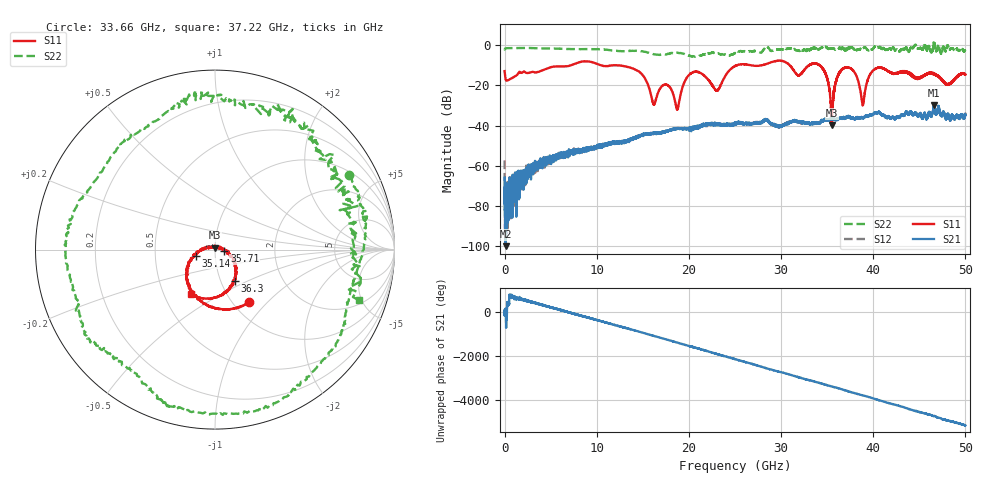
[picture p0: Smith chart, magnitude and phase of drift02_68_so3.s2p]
!Created with skrf (http://scikit-rf.org).
# Hz S RI R 50.0
!freq ReS11 ImS11 ReS21 ImS21 ReS12 ImS12 ReS22 ImS22
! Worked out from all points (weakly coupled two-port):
!   10001 points, 300 kHz to 50 GHz, reference 50 ohm
!   highest |S21| = -29.96 dB at 46.58 GHz (marker M1); lowest = -100.0 dB at 115.3 MHz (marker M2)
!   lowest |S11| = -39.9 dB at 35.5 GHz (marker M3), VSWR 1.02, Z = 50 + j1.01 ohm
!   |S11| at or under -10 dB: start of sweep to 7.178 GHz; 12.36 GHz to 25.18 GHz (12.82 GHz wide, 68.3 % of centre); 34.21 GHz to end of sweep (the widest 3 of 15)
!   |S22| runs from -5.7 to 2.4 dB; largest |S21 - S12| = 0.0034
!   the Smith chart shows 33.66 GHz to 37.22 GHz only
!   S11 on the Smith chart (normalised r, x): 33.66 GHz: 1.18, -0.79; 35.14 GHz: 0.81, -0.05; 35.71 GHz: 1.11, -0.02; 36.3 GHz: 1.17, -0.43; 37.22 GHz: 0.68, -0.37
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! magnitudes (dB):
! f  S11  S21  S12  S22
! 300 kHz  -12.9  -65.9  -57.3  -2.0
! 115.3 MHz  -17.0  -100.0  -74.3  -1.5
! 8.335 GHz  -8.2  -52.8  -51.7  -1.9
! 14.03 GHz  -11.8  -46.4  -46.0  -2.8
! 16.67 GHz  -23.4  -43.6  -43.6  -4.7
! 17.72 GHz  -19.9  -42.8  -42.6  -4.3
! 18.74 GHz  -32.0  -41.6  -41.3  -3.7
! 20.23 GHz  -13.9  -41.4  -41.4  -5.5
! 23.04 GHz  -22.6  -39.4  -39.3  -4.1
! 25 GHz  -10.4  -39.1  -39.1  -3.9
! 33.34 GHz  -9.3  -38.6  -38.8  -1.6
! 33.66 GHz  -9.1  -38.6  -38.5  -1.3
! 35.14 GHz  -19.1  -37.4  -37.1  -1.9
! 35.5 GHz  -39.9  -36.8  -36.9  -1.7
! 35.71 GHz  -25.5  -36.7  -36.9  -1.6
! 36.3 GHz  -13.7  -36.5  -36.5  -1.5
! 37.22 GHz  -11.0  -35.4  -35.4  -1.4
! 38.86 GHz  -29.9  -36.1  -35.9  -1.3
! 39.93 GHz  -12.8  -34.6  -34.5  -2.0
! 41.67 GHz  -13.0  -35.6  -35.5  -1.8
! 46.58 GHz  -14.2  -30.0  -30.6  1.8
! 50 GHz  -14.6  -34.7  -34.3  -2.7
